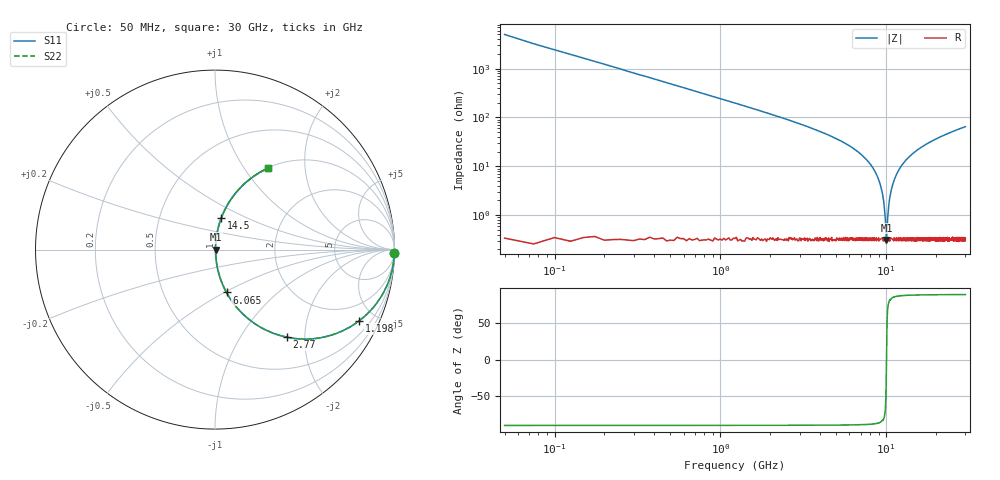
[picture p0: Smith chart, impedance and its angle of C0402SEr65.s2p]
!	AVX Thin Film Operation 	Date: April 2014
!	Description: Accu-P® Series, Thin Film  SMD RF Capacitor
!	Part Number: 04021JR65ZBSTR
# MHZ S MA R 50
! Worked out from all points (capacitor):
!   1201 points, 50 MHz to 30 GHz, reference 50 ohm
!   read as one part in series: C = 648 fF near 199.8 MHz
!   lowest |Z| = 312 mohm at 10.03 GHz (marker M1)
!   series resonance near 10.03 GHz, so ESL is about 390 pH
!   S11 on the Smith chart (normalised r, x): 50 MHz: -0, -98; 1.198 GHz: 1.01, -4.03; 2.77 GHz: 1.01, -1.63; 6.065 GHz: 1.01, -0.51; 14.5 GHz: 1.01, +0.37; 30 GHz: 1.01, +1.30
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50  1 -1.2  0.02 88.8  0.02 88.8  1 -1.2
274.625  0.994 -6.4  0.112 83.6  0.112 83.6  0.994 -6.4
449.333  0.983 -10.4  0.181 79.5  0.181 79.5  0.983 -10.4
1198.083  0.895 -26.4  0.444 63.5  0.444 63.5  0.895 -26.4
2770.458  0.631 -50.6  0.773 39.1  0.773 39.1  0.631 -50.6
5041.667  0.34 -69.6  0.937 19.9  0.937 19.9  0.34 -69.6
6064.958  0.247 -75.0  0.966 14.3  0.966 14.3  0.247 -75.0
7837  0.12 -81.6  0.99 6.9  0.99 6.9  0.12 -81.6
8910.208  0.058 -83.5  0.995 3.3  0.995 3.3  0.058 -83.5
9559.125  0.024 -80.8  0.997 1.3  0.997 1.3  0.024 -80.8
9733.833  0.015 -76.7  0.997 0.8  0.997 0.8  0.015 -76.7
9933.5  0.005654 -55.1  0.997 0.3  0.997 0.3  0.005654 -55.1
10033.33  0.003217 3.8  0.997 -0.0  0.997 -0.0  0.003217 3.8
10058.29  0.003511 23.8  0.997 -0.1  0.997 -0.1  0.003511 23.8
10507.54  0.023 80.7  0.997 -1.3  0.997 -1.3  0.023 80.7
11206.38  0.054 83.5  0.995 -3.1  0.995 -3.1  0.054 83.5
12479.25  0.107 82.2  0.991 -6.1  0.991 -6.1  0.107 82.2
14500.88  0.181 78.6  0.98 -10.4  0.98 -10.4  0.181 78.6
15025  0.198 77.7  0.977 -11.4  0.977 -11.4  0.198 77.7
20016.67  0.342 69.5  0.937 -20.0  0.937 -20.0  0.342 69.5
25033.29  0.454 62.6  0.888 -27.0  0.888 -27.0  0.454 62.6
30000  0.543 56.8  0.837 -32.9  0.837 -32.9  0.543 56.8
